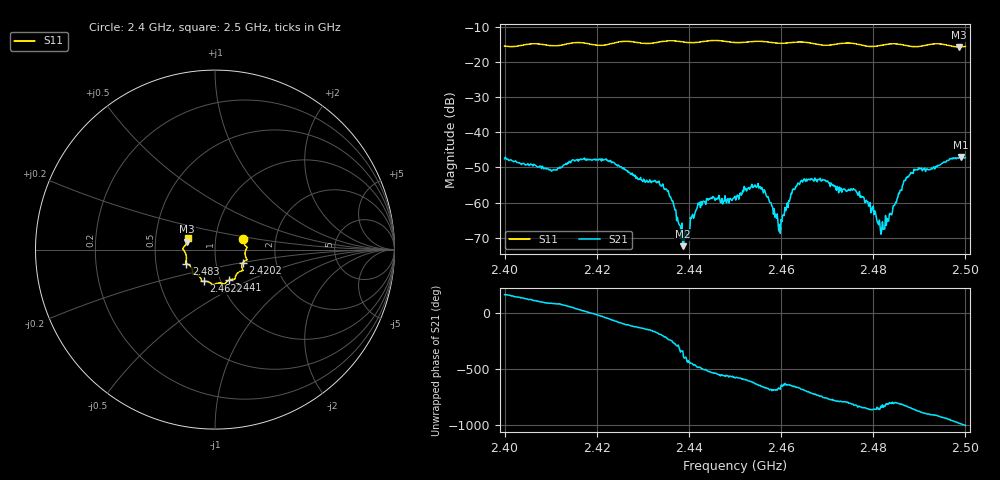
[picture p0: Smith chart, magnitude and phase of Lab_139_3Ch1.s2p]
# Hz S RI R 50
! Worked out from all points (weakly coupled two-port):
!   601 points, 2.4 GHz to 2.5 GHz, reference 50 ohm
!   highest |S21| = -47.07 dB at 2.499 GHz (marker M1); lowest = -72.4 dB at 2.4387 GHz (marker M2)
!   lowest |S11| = -15.8 dB at 2.4987 GHz (marker M3), VSWR 1.39, Z = 36.4 + j3.32 ohm
!   |S11| at or under -10 dB: start of sweep to end of sweep
!   S12 and S22 are empty: the file has one direction only
!   S11 on the Smith chart (normalised r, x): 2.4 GHz: 1.36, +0.17; 2.4202 GHz: 1.35, -0.20; 2.441 GHz: 1.09, -0.39; 2.4622 GHz: 0.83, -0.30; 2.483 GHz: 0.72, -0.12; 2.5 GHz: 0.73, +0.09
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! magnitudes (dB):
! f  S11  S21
! 2.4 GHz  -15.5  -47.5
! 2.4105 GHz  -15.5  -50.7
! 2.4167 GHz  -14.6  -47.7
! 2.4202 GHz  -15.3  -47.8
! 2.4333 GHz  -14.4  -54.3
! 2.436 GHz  -14.0  -58.4
! 2.4387 GHz  -14.4  -72.4
! 2.441 GHz  -14.6  -64.5
! 2.4443 GHz  -14.0  -58.9
! 2.45 GHz  -14.5  -58.2
! 2.4553 GHz  -14.2  -55.5
! 2.4598 GHz  -14.7  -68.7
! 2.4622 GHz  -14.5  -57.4
! 2.4667 GHz  -14.7  -53.3
! 2.4757 GHz  -14.8  -56.0
! 2.4813 GHz  -15.4  -65.0
! 2.483 GHz  -15.0  -64.5
! 2.4833 GHz  -15.0  -65.3
! 2.4887 GHz  -15.7  -51.7
! 2.4987 GHz  -15.8  -47.2
! 2.499 GHz  -15.8  -47.1
! 2.5 GHz  -15.6  -47.2
